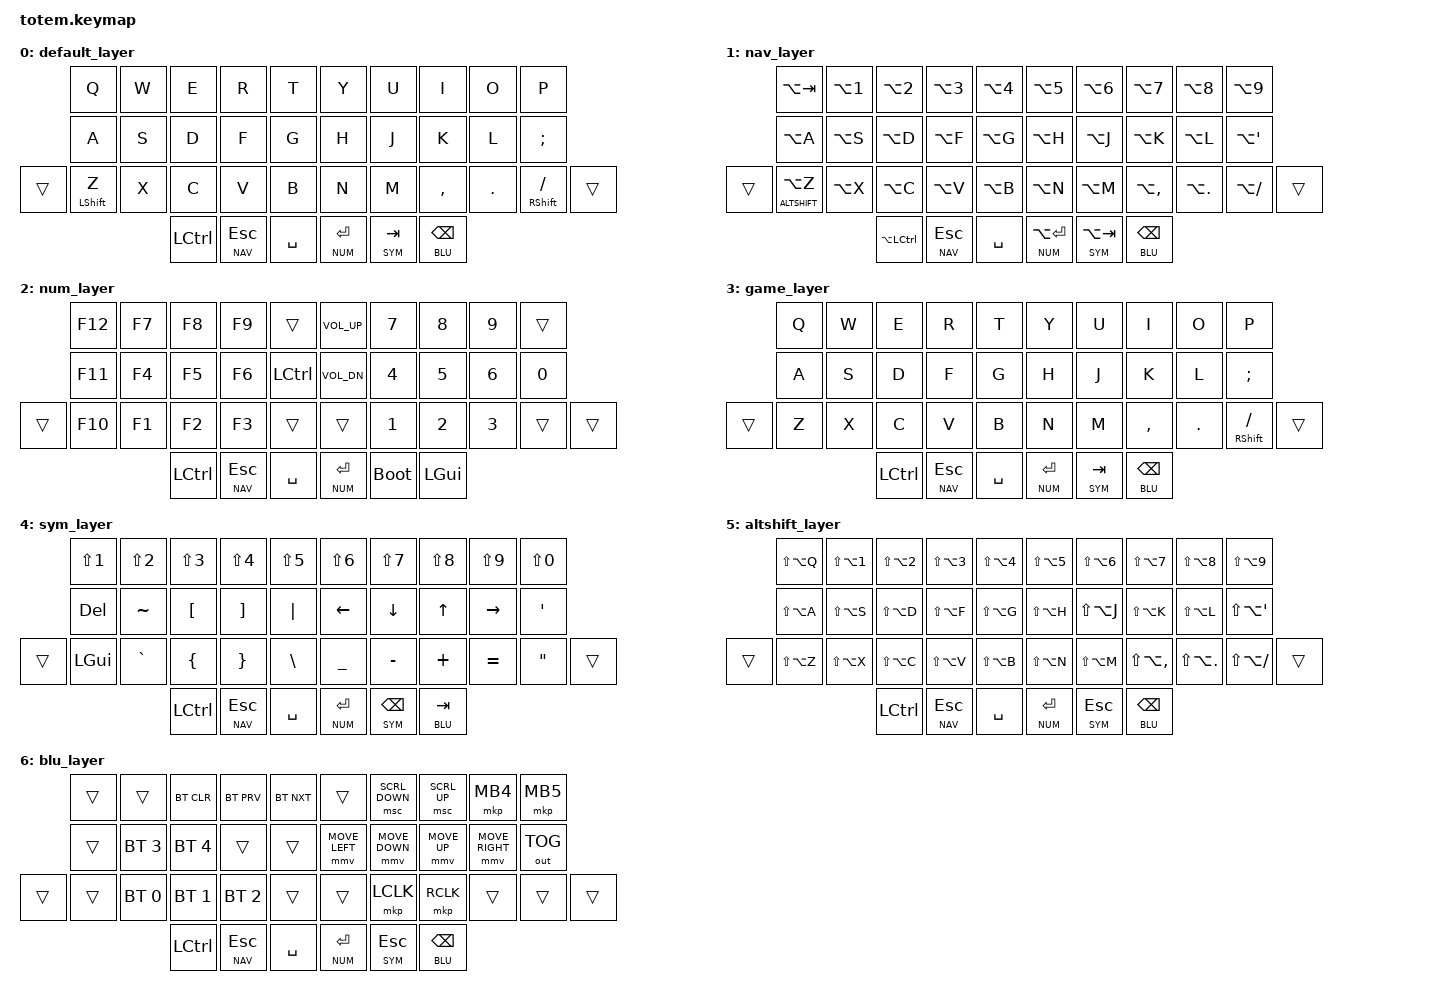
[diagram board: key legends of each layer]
/*
 * Copyright (c) 2020 The ZMK Contributors
 *
 * SPDX-License-Identifier: MIT
 */


#include <behaviors.dtsi>
#include <dt-bindings/zmk/keys.h>
#include <dt-bindings/zmk/bt.h>
#include <dt-bindings/zmk/outputs.h>
#include <dt-bindings/zmk/pointing.h>
/*#include <dt-bindings/zmk/mouse.h>*/
/*#include <behaviors/mouse_keys.dtsi>*/

#define BASE 0
#define NAV  1
#define NUM  2
#define GAME  3
#define SYM  4
#define ALTSHIFT  5
#define BLU 6

&mt {
  quick-tap-ms = <100>;
  global-quick-tap;
  flavor = "tap-preferred";
  tapping-term-ms = <180>;
};

&lt {

  quick-tap-ms = <200>;
};



/ {
    keymap {
        compatible = "zmk,keymap";

        default_layer {
//          ------------------------------------------------------------------------------------------------------------
//          |  Q  |  W  |  E   |  R   |  T   |                                           |  Y   |  U    |  I    |  O   |   P   |
//          |  A  |  S  |  D   |  F   |  G   |                                           |  H   |  J    |  K    |  L   |   '   |
//          |  Z  |  X  |  C   |  V   |  B   |                                           |  N   |  M    |  ,    |  .   |   /   |
//                      | ESC  | SPC |  TAB | BOOTLOADER |                         | MUTE | RET | BKSP | DEL |

            bindings = <
&kp Q          &kp W          &kp E          &kp R          &kp T               &kp Y          &kp U          &kp I          &kp O          &kp P
&kp A          &kp S          &kp D          &kp F          &kp G               &kp H          &kp J          &kp K          &kp L          &kp SEMI 
&trans &mt LSHFT Z          &kp X          &kp C          &kp V          &kp B               &kp N          &kp M          &kp COMMA      &kp DOT        &mt RSHFT FSLH &trans
&kp LCTRL      &lt NAV ESC    &kp SPACE                                                                       &lt NUM RET    &lt SYM TAB    &lt BLU BSPC 
            >;
        };

        nav_layer {

            bindings = <
&kp LA(TAB)       &kp LA(N1)        &kp LA(N2)        &kp LA(N3)        &kp LA(N4)        &kp LA(N5)             &kp LA(N6)        &kp LA(N7)         &kp LA(N8)        &kp LA(N9)
&kp LA(A)         &kp LA(S)         &kp LA(D)         &kp LA(F)         &kp LA(G)              &kp LA(H)         &kp LA(J)          &kp LA(K)         &kp LA(L)         &kp LA(SQT)
&trans &lt ALTSHIFT LA(Z)         &kp LA(X)         &kp LA(C)         &kp LA(V) &kp LA(B)              &kp LA(N)         &kp LA(M)          &kp LA(COMMA) &kp LA(DOT)       &kp LA(FSLH) &trans
&kp LA(LCTRL)     &lt NAV ESC    &kp SPACE                                                                       &lt NUM LA(RET)   &lt SYM LA(TAB)    &lt BLU BSPC 
            >;
        };

        num_layer {
            
            bindings = <
&kp F12        &kp F7         &kp F8         &kp F9     &trans         &kp C_VOL_UP    &kp N7         &kp N8         &kp N9                &trans
&kp F11        &kp F4         &kp F5         &kp F6     &kp LCTRL      &kp C_VOL_DN    &kp N4         &kp N5         &kp N6                &kp N0
&trans &kp F10        &kp F1         &kp F2         &kp F3     &trans &trans          &kp N1         &kp N2         &kp N3                &trans &trans
&kp LCTRL      &lt NAV ESC    &kp SPACE                                                               &lt NUM RET    &bootloader    &kp LGUI 
            >;
        };

        game_layer {
            
            bindings = <
&kp Q          &kp W          &kp E          &kp R          &kp T               &kp Y          &kp U          &kp I          &kp O          &kp P
&kp A          &kp S          &kp D          &kp F          &kp G               &kp H          &kp J          &kp K          &kp L          &kp SEMI 
&trans &kp Z          &kp X          &kp C          &kp V          &kp B               &kp N          &kp M          &kp COMMA      &kp DOT        &mt RSHFT FSLH &trans
&kp LCTRL      &lt NAV ESC    &kp SPACE                                                                       &lt NUM RET    &lt SYM TAB    &lt BLU BSPC 
            >;
        };

        sym_layer {
            
            bindings = <
&kp LS(N1)     &kp LS(N2)     &kp LS(N3)     &kp LS(N4)     &kp LS(N5)          &kp LS(N6)    &kp LS(N7)      &kp LS(N8)     &kp LS(N9)     &kp LS(N0)
&kp DEL        &kp TILDE      &kp LBKT       &kp RBKT       &kp PIPE            &kp LEFT      &kp DOWN        &kp UP         &kp RIGHT      &kp SQT 
&trans &kp LGUI       &kp GRAVE      &kp LBRC       &kp RBRC       &kp BSLH &kp UNDER     &kp MINUS       &kp PLUS       &kp EQUAL      &kp DQT  &trans
&kp LCTRL      &lt NAV ESC    &kp SPACE                                                                       &lt NUM RET    &lt SYM BSPC    &lt BLU TAB 
            >;
        };

        altshift_layer {
            
            bindings = <
&kp LS(LA(Q))         &kp LS(LA(N1))        &kp LS(LA(N2))        &kp LS(LA(N3))        &kp LS(LA(N4))             &kp LS(LA(N5))        &kp LS(LA(N6))         &kp LS(LA(N7))        &kp LS(LA(N8))        &kp LS(LA(N9))
&kp LS(LA(A))         &kp LS(LA(S))         &kp LS(LA(D))         &kp LS(LA(F))         &kp LS(LA(G))              &kp LS(LA(H))         &kp LS(LA(J))          &kp LS(LA(K))         &kp LS(LA(L))         &kp LS(LA(SQT))
&trans &kp LS(LA(Z))         &kp LS(LA(X))         &kp LS(LA(C))         &kp LS(LA(V))         &kp LS(LA(B))              &kp LS(LA(N))         &kp LS(LA(M))          &kp LS(LA(COMMA))     &kp LS(LA(DOT))       &kp LS(LA(FSLH)) &trans
&kp LCTRL      &lt NAV ESC    &kp SPACE                                                                       &lt NUM RET    &lt SYM ESC    &lt BLU BSPC 
            >;
        };

        blu_layer {
            
            bindings = <
// &trans         &trans         &trans         &trans         &trans              &bt BT_CLR      &trans      &trans    &bt BT_PRV        &bt BT_NXT
// &trans         &bt BT_SEL 3   &bt BT_SEL 4   &trans         &trans              &trans &trans &trans &trans &out OUT_TOG
// &trans         &bt BT_SEL 0   &bt BT_SEL 1   &bt BT_SEL 2   &trans              &trans          &trans         &trans         &trans            &trans

&trans         &trans         &bt BT_CLR     &bt BT_PRV     &bt BT_NXT          &trans      &msc SCRL_DOWN    &msc SCRL_UP      &mkp MB4          &mkp MB5
&trans         &bt BT_SEL 3   &bt BT_SEL 4   &trans         &trans              &mmv MOVE_LEFT  &mmv MOVE_DOWN    &mmv MOVE_UP      &mmv MOVE_RIGHT   &out OUT_TOG
&trans &trans         &bt BT_SEL 0   &bt BT_SEL 1   &bt BT_SEL 2   &trans &trans          &mkp LCLK         &mkp RCLK         &trans            &trans &trans
&kp LCTRL      &lt NAV ESC    &kp SPACE                                                                       &lt NUM RET    &lt SYM ESC    &lt BLU BSPC 
            >;
        };
    };
};
